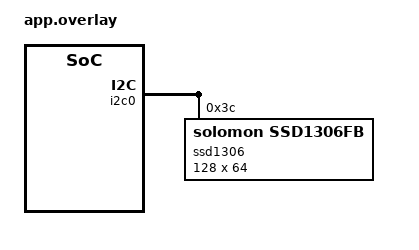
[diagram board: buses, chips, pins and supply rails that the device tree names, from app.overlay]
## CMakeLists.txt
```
cmake_minimum_required(VERSION 3.22)
set(BOARD esp32_devkitc_wrover)

find_package(Zephyr)
project(zephyr_ssd1306)

target_sources(app PRIVATE src/main.c)
```

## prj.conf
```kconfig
CONFIG_I2C=y
CONFIG_DISPLAY=y
CONFIG_SSD1306=y
# From Zephyr 3.5.0 CONFIG_SSD1306_DEFAULT is no longer used
# CONFIG_SSD1306_DEFAULT=y
CONFIG_SSD1306_DEFAULT_CONTRAST=128
CONFIG_LOG=y
```

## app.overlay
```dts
&i2c0 {
      ssd1306: ssd1306@3c {
      	       compatible = "solomon,ssd1306fb";
	       reg = <0x3c>;
	       height = <64>;
	       width = <128>;
	       segment-offset = <0>;
	       page-offset = <0>;
	       display-offset = <0>;
	       multiplex-ratio = <63>;
	       prechargep = <0x22>;
	       com-invdir;
	       segment-remap;
      };
};
```

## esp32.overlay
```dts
&i2c0 {
      ssd1306: ssd1306@3c {
      	       compatible = "solomon,ssd1306fb";
	       reg = <0x3c>;
	       height = <64>;
	       width = <128>;
	       segment-offset = <0>;
	       page-offset = <0>;
	       display-offset = <0>;
	       multiplex-ratio = <63>;
	       prechargep = <0x22>;
	       com-invdir;
	       segment-remap;
      };
};      
```

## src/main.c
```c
#include <stdint.h>
#include <zephyr/device.h>
#include <zephyr/kernel.h>
#include <zephyr/drivers/display.h>
#include <zephyr/logging/log.h>

#include "logo_image.h"

#define DISPLAY_BUFFER_PITCH 128

LOG_MODULE_REGISTER(display);

static const struct device *display = DEVICE_DT_GET(DT_NODELABEL(ssd1306));

void main(void)
{
  if (display == NULL) {
    LOG_ERR("device pointer is NULL");
    return;
  }

  if (!device_is_ready(display)) {
    LOG_ERR("display device is not ready");
    return;
  }

  struct display_capabilities capabilities;
  display_get_capabilities(display, &capabilities);

  const uint16_t x_res = capabilities.x_resolution;
  const uint16_t y_res = capabilities.y_resolution;

  LOG_INF("x_resolution: %d", x_res);
  LOG_INF("y_resolution: %d", y_res);
  LOG_INF("supported pixel formats: %d", capabilities.supported_pixel_formats);
  LOG_INF("screen_info: %d", capabilities.screen_info);
  LOG_INF("current_pixel_format: %d", capabilities.current_pixel_format);
  LOG_INF("current_orientation: %d", capabilities.current_orientation);
	 
  const struct display_buffer_descriptor buf_desc = {
    .width = x_res,
    .height = y_res,
    .buf_size = x_res * y_res,
    .pitch = DISPLAY_BUFFER_PITCH
  };

  if (display_write(display, 0, 0, &buf_desc, buf) != 0) {
    LOG_ERR("could not write to display");
  }

  if (display_set_contrast(display, 0) != 0) {
    LOG_ERR("could not set display contrast");
  }
  size_t ms_sleep = 5;

  while (true) {
    // Increase brightness
    for (size_t i = 0; i < 255; i++) {
      display_set_contrast(display, i);
      k_sleep(K_MSEC(ms_sleep));
    }

    // Decrease brightness
    for (size_t i = 255; i > 0; i--) {
      display_set_contrast(display, i);
      k_sleep(K_MSEC(ms_sleep));
    }
  }
}
```

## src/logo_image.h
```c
uint8_t buf[1024] = {
0x00, 0x00, 0x00, 0x00, 0x00, 0x00, 0x00, 0x00, 0x00, 0x00, 0x00, 0x00, 0x00, 0x00, 0x00, 0x00, 
0x00, 0x00, 0x00, 0x00, 0x00, 0x00, 0x00, 0x00, 0x00, 0x00, 0x00, 0x00, 0x00, 0x00, 0x00, 0x00, 
0x00, 0x00, 0x00, 0x00, 0x00, 0x00, 0x00, 0x00, 0x00, 0x00, 0x00, 0x00, 0x00, 0x00, 0x00, 0x00, 
0x00, 0x00, 0x00, 0x00, 0x00, 0x00, 0x00, 0x00, 0x00, 0x00, 0x00, 0x80, 0x80, 0x80, 0x80, 0x00, 
0x00, 0x80, 0x80, 0x80, 0x80, 0x00, 0x00, 0x00, 0x00, 0x00, 0x00, 0x00, 0x00, 0x00, 0x00, 0x00, 
0x00, 0x00, 0x00, 0x00, 0x00, 0x00, 0x00, 0x00, 0x00, 0x00, 0x00, 0x00, 0x00, 0x00, 0x00, 0x00, 
0x00, 0x00, 0x00, 0x00, 0x00, 0x00, 0x00, 0x00, 0x00, 0x00, 0x00, 0x00, 0x00, 0x00, 0x00, 0x00, 
0x00, 0x00, 0x00, 0x00, 0x00, 0x00, 0x00, 0x00, 0x00, 0x00, 0x00, 0x00, 0x00, 0x00, 0x00, 0x00, 
0x00, 0x00, 0x00, 0x00, 0x00, 0x00, 0x00, 0x00, 0x00, 0x00, 0x00, 0x00, 0x00, 0x00, 0x00, 0x00, 
0x00, 0x00, 0x00, 0x00, 0x00, 0x00, 0x00, 0x00, 0x00, 0x00, 0x00, 0x00, 0x00, 0x00, 0x00, 0x00, 
0x00, 0x00, 0x00, 0x00, 0x00, 0x00, 0x00, 0x00, 0x00, 0x00, 0x00, 0x00, 0x00, 0x00, 0x00, 0x80, 
0xc0, 0xe0, 0xf0, 0xf8, 0xfc, 0xfc, 0xfe, 0xfe, 0xff, 0xff, 0xff, 0x1f, 0x1f, 0x0f, 0x0f, 0x00, 
0x00, 0x0f, 0x0f, 0x1f, 0x1f, 0xff, 0xff, 0xff, 0xfe, 0xfe, 0xfc, 0xfc, 0xf8, 0xf0, 0xe0, 0xc0, 
0x80, 0x00, 0x00, 0x00, 0x00, 0x00, 0x00, 0x00, 0x00, 0x00, 0x00, 0x00, 0x00, 0x00, 0x00, 0x00, 
0x00, 0x00, 0x00, 0x00, 0x00, 0x00, 0x00, 0x00, 0x00, 0x00, 0x00, 0x00, 0x00, 0x00, 0x00, 0x00, 
0x00, 0x00, 0x00, 0x00, 0x00, 0x00, 0x00, 0x00, 0x00, 0x00, 0x00, 0x00, 0x00, 0x00, 0x00, 0x00, 
0x00, 0x00, 0x00, 0x00, 0x00, 0x00, 0x00, 0x00, 0x00, 0x00, 0x00, 0x00, 0x00, 0x00, 0x00, 0x00, 
0x00, 0x00, 0x00, 0x00, 0x00, 0x00, 0x00, 0x00, 0x00, 0x00, 0x00, 0x00, 0x00, 0x00, 0x00, 0x00, 
0x00, 0x00, 0x00, 0x00, 0x00, 0x00, 0x00, 0x00, 0x00, 0x00, 0x00, 0x00, 0xc0, 0xf8, 0xfe, 0xff, 
0xff, 0xff, 0xff, 0xff, 0xff, 0xff, 0xff, 0xff, 0xff, 0xff, 0xff, 0x86, 0x86, 0x86, 0x86, 0x86, 
0x86, 0x86, 0x86, 0x86, 0x86, 0xff, 0xff, 0xff, 0xff, 0xff, 0xff, 0xff, 0xff, 0xff, 0xff, 0xff, 
0xff, 0xfe, 0xf8, 0xc0, 0x00, 0x00, 0x00, 0x00, 0x00, 0x00, 0x00, 0x00, 0x00, 0x00, 0x00, 0x00, 
0x00, 0x00, 0x00, 0x00, 0x00, 0x00, 0x00, 0x00, 0x00, 0x00, 0x00, 0x00, 0x00, 0x00, 0x00, 0x00, 
0x00, 0x00, 0x00, 0x00, 0x00, 0x00, 0x00, 0x00, 0x00, 0x00, 0x00, 0x00, 0x00, 0x00, 0x00, 0x00, 
0x00, 0x00, 0x00, 0x00, 0x00, 0x00, 0x00, 0x00, 0x00, 0x00, 0x00, 0x00, 0x00, 0x00, 0x00, 0x00, 
0x00, 0x00, 0x00, 0x00, 0x00, 0x00, 0x00, 0x00, 0x00, 0x00, 0x00, 0x00, 0x00, 0x00, 0x00, 0x00, 
0x00, 0x00, 0x00, 0x00, 0x00, 0x00, 0x00, 0x00, 0x00, 0x00, 0x00, 0x00, 0xff, 0xff, 0xff, 0xff, 
0xff, 0xff, 0xff, 0xff, 0xff, 0xff, 0xff, 0xff, 0xff, 0xff, 0xff, 0x21, 0x21, 0x21, 0x21, 0x21, 
0x21, 0x21, 0x21, 0x21, 0x21, 0xff, 0xff, 0xff, 0xff, 0xff, 0xff, 0xff, 0xff, 0xff, 0xff, 0xff, 
0xff, 0xff, 0xff, 0xff, 0x00, 0x00, 0x00, 0x00, 0x00, 0x00, 0x00, 0x00, 0x00, 0x00, 0x00, 0x00, 
0x00, 0x00, 0x00, 0x00, 0x00, 0x00, 0x00, 0x00, 0x00, 0x00, 0x00, 0x00, 0x00, 0x00, 0x00, 0x00, 
0x00, 0x00, 0x00, 0x00, 0x00, 0x00, 0x00, 0x00, 0x00, 0x00, 0x00, 0x00, 0x00, 0x00, 0x00, 0x00, 
0x00, 0x00, 0x00, 0x00, 0x00, 0x00, 0x00, 0x00, 0x00, 0x00, 0x00, 0x00, 0x00, 0x00, 0x00, 0x00, 
0x00, 0x00, 0x00, 0x00, 0x00, 0x00, 0x00, 0x00, 0x00, 0x00, 0x00, 0x00, 0x00, 0x00, 0x00, 0x00, 
0x00, 0x00, 0x00, 0x00, 0x00, 0x00, 0x00, 0x00, 0x00, 0x00, 0x00, 0x00, 0x00, 0x07, 0x1f, 0x7f, 
0xff, 0xff, 0xff, 0xff, 0xff, 0xff, 0xff, 0xff, 0xff, 0xff, 0xff, 0x18, 0x18, 0x18, 0x18, 0x18, 
0x18, 0x18, 0x18, 0x18, 0x18, 0xff, 0xff, 0xff, 0xff, 0xff, 0xff, 0xff, 0xff, 0xff, 0xff, 0xff, 
0x7f, 0x1f, 0x07, 0x00, 0x00, 0x00, 0x00, 0x00, 0x00, 0x00, 0x00, 0x00, 0x00, 0x00, 0x00, 0x00, 
0x00, 0x00, 0x00, 0x00, 0x00, 0x00, 0x00, 0x00, 0x00, 0x00, 0x00, 0x00, 0x00, 0x00, 0x00, 0x00, 
0x00, 0x00, 0x00, 0x00, 0x00, 0x00, 0x00, 0x00, 0x00, 0x00, 0x00, 0x00, 0x00, 0x00, 0x00, 0x00, 
0x00, 0x00, 0x00, 0x00, 0x00, 0x00, 0x00, 0x00, 0x00, 0x00, 0x00, 0x00, 0x00, 0x00, 0x00, 0x00, 
0x00, 0x00, 0x00, 0x00, 0x00, 0x00, 0x00, 0x00, 0x00, 0x00, 0x00, 0x00, 0x00, 0x00, 0x00, 0x00, 
0x00, 0x00, 0x00, 0x00, 0x00, 0x00, 0x00, 0x00, 0x00, 0x00, 0x00, 0x00, 0x00, 0x00, 0x00, 0x00, 
0x00, 0x01, 0x03, 0x07, 0x0f, 0x0f, 0x1f, 0x1f, 0x3f, 0x3f, 0x3f, 0x7e, 0x7e, 0x7c, 0x7c, 0x00, 
0x00, 0x7c, 0x7c, 0x7e, 0x7e, 0x3f, 0x3f, 0x3f, 0x1f, 0x1f, 0x0f, 0x0f, 0x07, 0x03, 0x01, 0x00, 
0x00, 0x00, 0x00, 0x00, 0x00, 0x00, 0x00, 0x00, 0x00, 0x00, 0x00, 0x00, 0x00, 0x00, 0x00, 0x00, 
0x00, 0x00, 0x00, 0x00, 0x00, 0x00, 0x00, 0x00, 0x00, 0x00, 0x00, 0x00, 0x00, 0x00, 0x00, 0x00, 
0x00, 0x00, 0x00, 0x00, 0x00, 0x00, 0x00, 0x00, 0x00, 0x00, 0x00, 0x00, 0x00, 0x00, 0x00, 0x00, 
0x00, 0x00, 0x00, 0x00, 0x00, 0x00, 0x00, 0x00, 0x00, 0x00, 0x00, 0x00, 0x10, 0x10, 0xf0, 0x10, 
0x10, 0x00, 0xf0, 0x80, 0x80, 0x80, 0xf0, 0x00, 0xf0, 0x90, 0x90, 0x90, 0x10, 0x00, 0x00, 0x00, 
0xf0, 0x90, 0x90, 0x90, 0x60, 0x00, 0xf0, 0x00, 0x00, 0x00, 0xf0, 0x00, 0xf0, 0x00, 0x00, 0x00, 
0x00, 0x00, 0xf0, 0x00, 0x00, 0x00, 0x00, 0x80, 0x80, 0x80, 0x00, 0xf0, 0x00, 0x00, 0x00, 0xf0, 
0x00, 0xf0, 0x90, 0x90, 0x90, 0x60, 0x00, 0x00, 0x00, 0xf0, 0x90, 0x90, 0x90, 0x60, 0x00, 0xf0, 
0x90, 0x90, 0x10, 0x10, 0x00, 0x60, 0x90, 0x90, 0x90, 0x10, 0x00, 0xf0, 0x00, 0x60, 0x90, 0x90, 
0x90, 0x10, 0x00, 0x10, 0x10, 0xf0, 0x10, 0x10, 0x00, 0xe0, 0x10, 0x10, 0x10, 0xe0, 0x00, 0xf0, 
0x90, 0x90, 0x90, 0x60, 0x00, 0x00, 0x00, 0x00, 0x00, 0x00, 0x00, 0x00, 0x00, 0x00, 0x00, 0x00, 
0x00, 0x00, 0x00, 0x00, 0x00, 0x00, 0x00, 0x00, 0x00, 0x00, 0x00, 0x00, 0x00, 0x00, 0x07, 0x00, 
0x00, 0x00, 0x07, 0x00, 0x00, 0x00, 0x07, 0x00, 0x07, 0x04, 0x04, 0x04, 0x04, 0x00, 0x00, 0x00, 
0x07, 0x00, 0x00, 0x00, 0x00, 0x00, 0x03, 0x04, 0x04, 0x04, 0x03, 0x00, 0x07, 0x04, 0x04, 0x04, 
0x04, 0x00, 0x07, 0x04, 0x04, 0x04, 0x04, 0x00, 0x00, 0x00, 0x00, 0x03, 0x04, 0x04, 0x04, 0x03, 
0x00, 0x07, 0x00, 0x00, 0x00, 0x00, 0x00, 0x00, 0x00, 0x07, 0x00, 0x00, 0x01, 0x06, 0x00, 0x07, 
0x04, 0x04, 0x04, 0x04, 0x00, 0x04, 0x04, 0x04, 0x04, 0x03, 0x00, 0x07, 0x00, 0x04, 0x04, 0x04, 
0x04, 0x03, 0x00, 0x00, 0x00, 0x07, 0x00, 0x00, 0x00, 0x03, 0x04, 0x04, 0x04, 0x03, 0x00, 0x07, 
0x00, 0x00, 0x01, 0x06, 0x00, 0x00, 0x00, 0x00, 0x00, 0x00, 0x00, 0x00, 0x00, 0x00, 0x00, 0x00};
```
